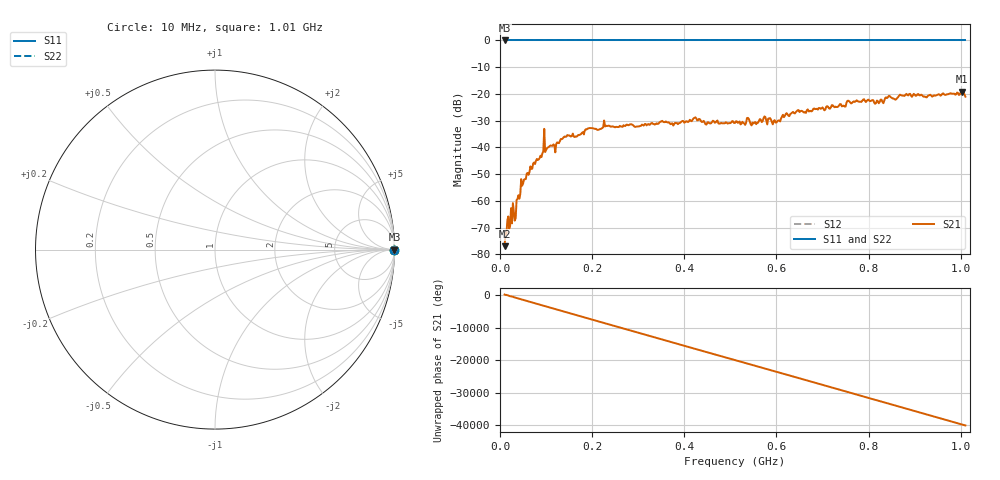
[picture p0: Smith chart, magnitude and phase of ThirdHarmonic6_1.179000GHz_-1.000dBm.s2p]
! 8/16/2025 12:01:34 PM
! C:\ANRITSUVNA\TEMP\TEMP.S2P
! CHANNEL.1
! TR.MEASUREMENT
! RAW.DATA
! RF.CORRECTION.OFF
! AVERAGING.OFF
! IF.BANDWIDTH: 5KHZ
! SWEEPTYPE:  FREQ.SWEEP(Linear)
! Reference Plane Port Info
! PORT:  PORT1  PORT2
! DISTANCE:  0  m  0  m
! TIME:  0  s  0  s
! PHASE.OFFSET:  0  deg.  0  deg.
! LOSS:  0  dB  0  dB
! REF.LOSS:  0  dB  0  dB
! REF.FREQ:  0  Hz  0  Hz
! Power Info
! POWER:  -20  dBm  -20  dBm
! EFF.POWER:  -20  dBm  -20  dBm
! SOURCE.ATTEN:  0  dB  0  dB
! TEST.ATTEN:  0  dB  0  dB
# GHZ S RI R 50.0
! FREQ.GHZ  S11RE  S11IM  S21RE  S21IM  S12RE  S12IM  S22RE  S22IM
!; PortSelection: Port_12
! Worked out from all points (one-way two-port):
!   501 points, 10 MHz to 1.01 GHz, reference 50 ohm
!   highest |S21| = -19.21 dB at 1.002 GHz (marker M1); lowest = -76.9 dB at 10 MHz (marker M2)
!   lowest |S11| = 0.0 dB at 10 MHz (marker M3)
!   |S11| at or under -10 dB: nowhere
!   |S22| runs from 0.0 to 0.0 dB; largest |S21 - S12| = 1.1
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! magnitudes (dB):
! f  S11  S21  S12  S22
! 10 MHz  0.0  -76.9  0.0  0.0
! 20 MHz  0.0  -70.4  0.0  0.0
! 30 MHz  0.0  -64.2  0.0  0.0
! 50 MHz  0.0  -53.6  0.0  0.0
! 88 MHz  0.0  -43.1  0.0  0.0
! 92 MHz  0.0  -42.2  0.0  0.0
! 124 MHz  0.0  -38.1  0.0  0.0
! 144 MHz  0.0  -36.0  0.0  0.0
! 178 MHz  0.0  -34.5  0.0  0.0
! 230 MHz  0.0  -31.9  0.0  0.0
! 344 MHz  0.0  -31.1  0.0  0.0
! 422 MHz  0.0  -29.0  0.0  0.0
! 450 MHz  0.0  -30.7  0.0  0.0
! 510 MHz  0.0  -30.8  0.0  0.0
! 596 MHz  0.0  -29.8  0.0  0.0
! 618 MHz  0.0  -28.3  0.0  0.0
! 678 MHz  0.0  -26.2  0.0  0.0
! 756 MHz  0.0  -22.5  0.0  0.0
! 818 MHz  0.0  -22.5  0.0  0.0
! 844 MHz  0.0  -20.7  0.0  0.0
! 1.002 GHz  0.0  -19.2  0.0  0.0
! 1.01 GHz  0.0  -21.0  0.0  0.0
